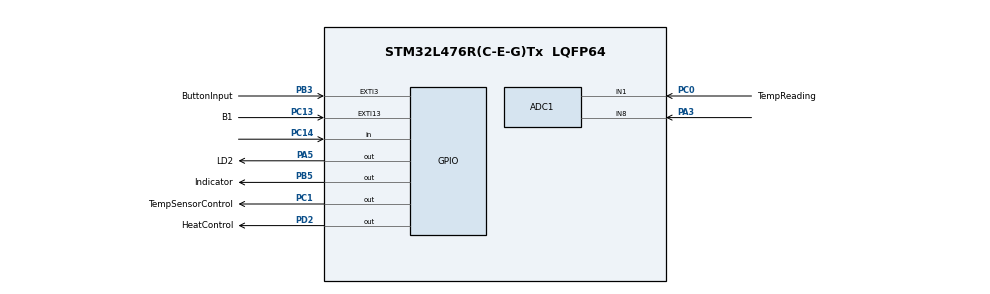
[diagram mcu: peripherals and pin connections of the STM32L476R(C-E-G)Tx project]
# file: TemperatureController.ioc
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ADC1.Channel-1\#ChannelRegularConversion=ADC_CHANNEL_1
ADC1.NbrOfConversionFlag=1
ADC1.OffsetNumber-1\#ChannelRegularConversion=ADC_OFFSET_NONE
ADC1.Rank-1\#ChannelRegularConversion=1
ADC1.SamplingTime-1\#ChannelRegularConversion=ADC_SAMPLETIME_2CYCLES_5
ADC1.master=1
Mcu.Family=STM32L4
Mcu.Name=STM32L476R(C-E-G)Tx
Mcu.Package=LQFP64
NVIC.ADC1_2_IRQn=true\:0\:0\:false\:false\:true\:true\:true\:true
NVIC.EXTI15_10_IRQn=true\:0\:0\:false\:false\:true\:true\:true\:true
NVIC.PriorityGroup=NVIC_PRIORITYGROUP_4
PA3.Signal=ADCx_IN8
PA5.GPIO_Label=LD2
PA5.Signal=GPIO_Output
PB3\ (JTDO-TRACESWO).GPIO_Label=ButtonInput
PB3\ (JTDO-TRACESWO).Signal=GPXTI3
PB5.GPIO_Label=Indicator
PB5.Signal=GPIO_Output
PC0.GPIO_Label=TempReading
PC0.Signal=ADCx_IN1
PC1.GPIO_Label=TempSensorControl
PC1.Signal=GPIO_Output
PC13.GPIO_Label=B1
PC13.Signal=GPXTI13
PC14-OSC32_IN\ (PC14).Signal=GPIO_Input
PD2.GPIO_Label=HeatControl
PD2.Signal=GPIO_Output
PH0-OSC_IN\ (PH0).Mode=HSE-External-Oscillator
PH0-OSC_IN\ (PH0).Signal=RCC_OSC_IN
PH1-OSC_OUT\ (PH1).Mode=HSE-External-Oscillator
PH1-OSC_OUT\ (PH1).Signal=RCC_OSC_OUT
ProjectManager.HeapSize=0x200
ProjectManager.StackSize=0x400
ProjectManager.TargetToolchain=STM32CubeIDE
RCC.ADCFreq_Value=32000000
RCC.HSE_VALUE=8000000
RCC.HSI_VALUE=16000000
RCC.LSE_VALUE=32768
RCC.MSI_VALUE=4000000
RCC.PLLSAI1N=16
RCC.USBFreq_Value=32000000
RCC.VCOOutputFreq_Value=32000000
SH.ADCx_IN1.0=ADC1_IN1,IN1-Single-Ended
SH.ADCx_IN8.0=ADC1_IN8,IN8-Single-Ended
board=custom

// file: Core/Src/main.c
/* USER CODE BEGIN Header */
/**
  ******************************************************************************
  * Info: Temperature Controller for Sea Ice Project
  * Author: Sarah Tallack
  * Institution: University of Cape Town
  * Date: 9 December 2022
  ******************************************************************************
  * Program to implement a bang-bang controller for the regulation of temperature
  * for a battery enclosure. To check the reading of temperature, plug in the
  * Nucleo board via a micro-USB cable open a serial connection.
  *
  * The program reads an ADC value between 0 and 4095, which is then converted
  * into a voltage values, between 0V and 3.3V. This voltage value is an UART_Print
  * of a sensor circuit and has a direct relationship with the temperature being
  * sensed. More detail can be found in the Temperature Controller documentation.
  *
  * The temperature range is roughly - 23°C to 30°C. The following pins are used:
  * PB3: Button Input, which is programmed to an interrupt and power system on.
  * PB5: LED Indicator, to show when the system is powered on.
  * PC0: Temperature Reading, which is an ADC that gives a value related to temp.
  * PD2: Heater Control, GPIO UART_Print which is used to switch on power to external
  * 	 heaters.
  *	PA2 and PA3: UART communication for debugging.
  *	PA5: LD2, built in LED on board, default configuration.
  *	PC13: B1, button of board, default configuration.
  *
  *	To see the interrupt functions, see stm32l4xx_it.c file.
  ******************************************************************************
  */
/* USER CODE END Header */
#include "main.h"

/* USER CODE BEGIN Includes */
#include "inttypes.h"
#include "string.h"
#include "stdio.h"
/* USER CODE END Includes */

ADC_HandleTypeDef hadc1;

/* USER CODE BEGIN PV */

char print[25];			// array for printing via UART

uint32_t Volt;
int Temp;

uint8_t mode = 0;		// mode = 1 -> when button pressed
uint32_t Temp_low = 20;
uint32_t Temp_high = 25;
/* USER CODE END PV */

void SystemClock_Config(void);
static void MX_GPIO_Init(void);
static void MX_ADC1_Init(void);
/* USER CODE BEGIN PFP */
uint32_t ADC_to_Volt(uint32_t ADC_val);
int Volt_to_Temp(uint32_t Volt);
void Control_Heater(int Temp);
void UART_Print(uint32_t val, uint8_t type);
/* USER CODE END PFP */

int main(void)
{

  /* MCU Configuration--------------------------------------------------------*/

  /* Reset of all peripherals, Initializes the Flash interface and the Systick. */
  HAL_Init();

  /* Configure the system clock */
  SystemClock_Config();

  /* Initialize all configured peripherals */
  MX_GPIO_Init();
  MX_ADC1_Init();

  /* Infinite loop */
  while (1)
  {

    /* USER CODE BEGIN 3 */

	while (mode == 1)
	{
		// Get ADC value
		HAL_ADC_Start(&hadc1);
		HAL_ADC_PollForConversion(&hadc1, HAL_MAX_DELAY);
		uint32_t ADC = HAL_ADC_GetValue(&hadc1);
		UART_Print(ADC, 0);

		// Convert ADC value to voltage
		Volt = ADC_to_Volt(ADC);
		UART_Print(Volt, 1);

		// Convert voltage value to temperature
		Temp = Volt_to_Temp(Volt);
		memset(print, 0, sizeof print);
		sprintf(print, "Temperature: %d\r\n", Temp);
		HAL_UART_Transmit(&huart2, print, sizeof(print), 1000);

		// Use temperature to control UART_Print
		Control_Heater(Temp);
		HAL_Delay(100);
	}
	/*
	// Get ADC value
	HAL_ADC_Start(&hadc1);
	HAL_ADC_PollForConversion(&hadc1, HAL_MAX_DELAY);
	uint32_t ADC = HAL_ADC_GetValue(&hadc1);
	UART_Print(ADC, 0);

	// Convert ADC value to voltage
	Volt = ADC_to_Volt(ADC);
	UART_Print(Volt, 1);

	// Convert voltage value to temperature
	Temp = Volt_to_Temp(Volt);
	memset(print, 0, sizeof print);
	sprintf(print, "Temperature: %d\r\n", Temp);
	HAL_UART_Transmit(&huart2, print, sizeof(print), 1000);

	// Use temperature to control UART_Print
	Control_Heater(Temp);
	HAL_Delay(tDelay);

	if (Temp >= 20){
		HAL_GPIO_TogglePin(GPIOA, GPIO_PIN_5); // Toggle blue LED PA5
		//HAL_Delay(tDelay);
	}*/

  }
  /* USER CODE END 3 */
}

void SystemClock_Config(void)
{
  RCC_OscInitTypeDef RCC_OscInitStruct = {0};
  RCC_ClkInitTypeDef RCC_ClkInitStruct = {0};

  /** Configure the main internal regulator output voltage
  */
  if (HAL_PWREx_ControlVoltageScaling(PWR_REGULATOR_VOLTAGE_SCALE1) != HAL_OK)
  {
    Error_Handler();
  }

  /** Initializes the RCC Oscillators according to the specified parameters
  * in the RCC_OscInitTypeDef structure.
  */
  RCC_OscInitStruct.OscillatorType = RCC_OSCILLATORTYPE_MSI;
  RCC_OscInitStruct.MSIState = RCC_MSI_ON;
  RCC_OscInitStruct.MSICalibrationValue = 0;
  RCC_OscInitStruct.MSIClockRange = RCC_MSIRANGE_6;
  RCC_OscInitStruct.PLL.PLLState = RCC_PLL_NONE;
  if (HAL_RCC_OscConfig(&RCC_OscInitStruct) != HAL_OK)
  {
    Error_Handler();
  }

  /** Initializes the CPU, AHB and APB buses clocks
  */
  RCC_ClkInitStruct.ClockType = RCC_CLOCKTYPE_HCLK|RCC_CLOCKTYPE_SYSCLK
                              |RCC_CLOCKTYPE_PCLK1|RCC_CLOCKTYPE_PCLK2;
  RCC_ClkInitStruct.SYSCLKSource = RCC_SYSCLKSOURCE_MSI;
  RCC_ClkInitStruct.AHBCLKDivider = RCC_SYSCLK_DIV1;
  RCC_ClkInitStruct.APB1CLKDivider = RCC_HCLK_DIV1;
  RCC_ClkInitStruct.APB2CLKDivider = RCC_HCLK_DIV1;

  if (HAL_RCC_ClockConfig(&RCC_ClkInitStruct, FLASH_LATENCY_0) != HAL_OK)
  {
    Error_Handler();
  }
}

static void MX_ADC1_Init(void)
{

  ADC_MultiModeTypeDef multimode = {0};
  ADC_ChannelConfTypeDef sConfig = {0};

  /** Common config
  */
  hadc1.Instance = ADC1;
  hadc1.Init.ClockPrescaler = ADC_CLOCK_ASYNC_DIV1;
  hadc1.Init.Resolution = ADC_RESOLUTION_12B;
  hadc1.Init.DataAlign = ADC_DATAALIGN_RIGHT;
  hadc1.Init.ScanConvMode = ADC_SCAN_DISABLE;
  hadc1.Init.EOCSelection = ADC_EOC_SINGLE_CONV;
  hadc1.Init.LowPowerAutoWait = DISABLE;
  hadc1.Init.ContinuousConvMode = DISABLE;
  hadc1.Init.NbrOfConversion = 1;
  hadc1.Init.DiscontinuousConvMode = DISABLE;
  hadc1.Init.ExternalTrigConv = ADC_SOFTWARE_START;
  hadc1.Init.ExternalTrigConvEdge = ADC_EXTERNALTRIGCONVEDGE_NONE;
  hadc1.Init.DMAContinuousRequests = DISABLE;
  hadc1.Init.Overrun = ADC_OVR_DATA_PRESERVED;
  hadc1.Init.OversamplingMode = DISABLE;
  if (HAL_ADC_Init(&hadc1) != HAL_OK)
  {
    Error_Handler();
  }

  /** Configure the ADC multi-mode
  */
  multimode.Mode = ADC_MODE_INDEPENDENT;
  if (HAL_ADCEx_MultiModeConfigChannel(&hadc1, &multimode) != HAL_OK)
  {
    Error_Handler();
  }

  /** Configure Regular Channel
  */
  sConfig.Channel = ADC_CHANNEL_1;
  sConfig.Rank = ADC_REGULAR_RANK_1;
  sConfig.SamplingTime = ADC_SAMPLETIME_2CYCLES_5;
  sConfig.SingleDiff = ADC_SINGLE_ENDED;
  sConfig.OffsetNumber = ADC_OFFSET_NONE;
  sConfig.Offset = 0;
  if (HAL_ADC_ConfigChannel(&hadc1, &sConfig) != HAL_OK)
  {
    Error_Handler();
  }

}

static void MX_GPIO_Init(void)
{
  GPIO_InitTypeDef GPIO_InitStruct = {0};

  /* GPIO Ports Clock Enable */
  __HAL_RCC_GPIOC_CLK_ENABLE();
  __HAL_RCC_GPIOH_CLK_ENABLE();
  __HAL_RCC_GPIOA_CLK_ENABLE();
  __HAL_RCC_GPIOD_CLK_ENABLE();
  __HAL_RCC_GPIOB_CLK_ENABLE();

  /*Configure GPIO pin Output Level */
  HAL_GPIO_WritePin(TempSensorControl_GPIO_Port, TempSensorControl_Pin, GPIO_PIN_RESET);

  /*Configure GPIO pin Output Level */
  HAL_GPIO_WritePin(LD2_GPIO_Port, LD2_Pin, GPIO_PIN_RESET);

  /*Configure GPIO pin Output Level */
  HAL_GPIO_WritePin(HeatControl_GPIO_Port, HeatControl_Pin, GPIO_PIN_RESET);

  /*Configure GPIO pin Output Level */
  HAL_GPIO_WritePin(Indicator_GPIO_Port, Indicator_Pin, GPIO_PIN_RESET);

  /*Configure GPIO pin : B1_Pin */
  GPIO_InitStruct.Pin = B1_Pin;
  GPIO_InitStruct.Mode = GPIO_MODE_IT_RISING;
  GPIO_InitStruct.Pull = GPIO_NOPULL;
  HAL_GPIO_Init(B1_GPIO_Port, &GPIO_InitStruct);

  /*Configure GPIO pin : PC14 */
  GPIO_InitStruct.Pin = GPIO_PIN_14;
  GPIO_InitStruct.Mode = GPIO_MODE_INPUT;
  GPIO_InitStruct.Pull = GPIO_NOPULL;
  HAL_GPIO_Init(GPIOC, &GPIO_InitStruct);

  /*Configure GPIO pin : TempSensorControl_Pin */
  GPIO_InitStruct.Pin = TempSensorControl_Pin;
  GPIO_InitStruct.Mode = GPIO_MODE_OUTPUT_PP;
  GPIO_InitStruct.Pull = GPIO_NOPULL;
  GPIO_InitStruct.Speed = GPIO_SPEED_FREQ_LOW;
  HAL_GPIO_Init(TempSensorControl_GPIO_Port, &GPIO_InitStruct);

  /*Configure GPIO pin : LD2_Pin */
  GPIO_InitStruct.Pin = LD2_Pin;
  GPIO_InitStruct.Mode = GPIO_MODE_OUTPUT_PP;
  GPIO_InitStruct.Pull = GPIO_NOPULL;
  GPIO_InitStruct.Speed = GPIO_SPEED_FREQ_LOW;
  HAL_GPIO_Init(LD2_GPIO_Port, &GPIO_InitStruct);

  /*Configure GPIO pin : HeatControl_Pin */
  GPIO_InitStruct.Pin = HeatControl_Pin;
  GPIO_InitStruct.Mode = GPIO_MODE_OUTPUT_PP;
  GPIO_InitStruct.Pull = GPIO_NOPULL;
  GPIO_InitStruct.Speed = GPIO_SPEED_FREQ_LOW;
  HAL_GPIO_Init(HeatControl_GPIO_Port, &GPIO_InitStruct);

  /*Configure GPIO pin : ButtonInput_Pin */
  GPIO_InitStruct.Pin = ButtonInput_Pin;
  GPIO_InitStruct.Mode = GPIO_MODE_IT_RISING;
  GPIO_InitStruct.Pull = GPIO_NOPULL;
  HAL_GPIO_Init(ButtonInput_GPIO_Port, &GPIO_InitStruct);

  /*Configure GPIO pin : Indicator_Pin */
  GPIO_InitStruct.Pin = Indicator_Pin;
  GPIO_InitStruct.Mode = GPIO_MODE_OUTPUT_PP;
  GPIO_InitStruct.Pull = GPIO_NOPULL;
  GPIO_InitStruct.Speed = GPIO_SPEED_FREQ_LOW;
  HAL_GPIO_Init(Indicator_GPIO_Port, &GPIO_InitStruct);

  /* EXTI interrupt init*/
  HAL_NVIC_SetPriority(EXTI15_10_IRQn, 0, 0);
  HAL_NVIC_EnableIRQ(EXTI15_10_IRQn);

}

/* USER CODE BEGIN 4 */
uint32_t ADC_to_Volt(uint32_t ADC_val){
	uint32_t volt = ADC_val*3300/4095;
	return volt;
}

int Volt_to_Temp(uint32_t Volt){
	/* Get temperature from ADC voltage
	 *
	 * Vin = 3.3 V
	 * R0 = 100 ohm
	 * G = 1 + 2 * 24.7k/R3, R3 = 91 ohms, 24.7k from instrumentation amplifier datasheet
	 * Vb = Vin*R3/(R3+3.3k)
	 * Determine output of sensor voltage divider
	 * Va = Volt/G + Vb
	 *
	 * Find resistance of temperature sensor
	 * Rt = 3.3k*Va/(Vin - Va)
	 *
	 * Calculate temperature from resistor/temperature relationship
	 * temp = (Rt/R0 - 1)/0.00385
	 *
	*/

	// Combine the above formulae into on as C doesn't like the seperate equations :(
	int temp = (3300/100 * (Volt/165.66667 + 88.5579)/(3300-(Volt/165.66667 + 88.5579)) - 1)/0.00385;
	return temp;
}

void Control_Heater(int Temp){
	if (Temp > Temp_high){
		// When reading goes above 25°C turn off
		HAL_GPIO_WritePin(GPIOD, GPIO_PIN_2, GPIO_PIN_RESET);
	}
	else if (Temp < Temp_low){
		// When reading goes below 20°C turn on
		HAL_GPIO_WritePin(GPIOD, GPIO_PIN_2, GPIO_PIN_SET);
	}
}

void UART_Print(uint32_t val, uint8_t type){
	memset(print, 0, sizeof print);
	if (type == 0){
		sprintf(print, "ADC: %lu\r\n", val);
	}
	else if (type == 1){
		sprintf(print, "Voltage: %lu\r\n", val);
	}
	HAL_UART_Transmit(&huart2, print, sizeof(print), 1000);
}

/* USER CODE END 4 */

void Error_Handler(void)
{
  __disable_irq();
  while (1)
  {
  }
}
